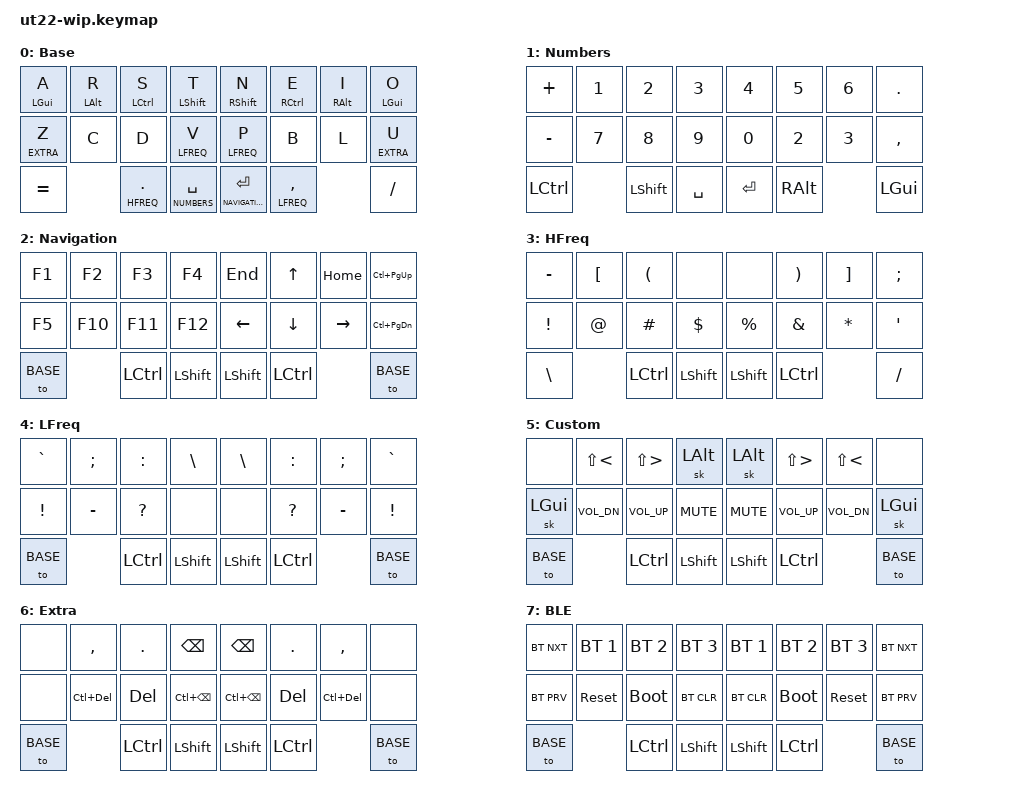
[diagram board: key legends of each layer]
/*
 * SPDX-License-Identifier: MIT
 */

#include <behaviors.dtsi>
#include <dt-bindings/zmk/keys.h>
#include <dt-bindings/zmk/bt.h>
#include <dt-bindings/zmk/outputs.h>


// LAYERS
// ====================================================
#define BASE    	0
#define NUMBERS 	1
#define NAVIGATION 	2
#define HFREQ 		3
#define LFREQ 		4
#define CUSTOM 		5
#define EXTRA		6
#define BLE		7


// Using layer taps on thumbs, having quick tap as well helps w/ repeating space/backspace
&lt { quick_tap_ms = <200>; };
// Sticky Layer Behavior - release sticky behavior after x ms
&sk { release-after-ms = <1800>; };
&mt { tapping-term-ms = <200>; };

// TAIPO DEFINITIONS (use in conjunction with TAIPO COMBOS)
// ====================================================
// ZMK forces you to define combos in terms of HW key positions
/*
	.-----------------------------------------------------------.
	|  0  |  1  |  2  |  3  |           |  4  |  5  |  6  |  7  |
	|  8  |  9  |  10 |  11 |           |  12 |  13 |  14 |  15 |
	|  16 |-----|  17 |  18 |           |  19 |  20 |-----|  21 |
	'-----'     '-----------------------------------'     '-----'
*/
// {Top,Bottom}{Left,Right}{Index,Middle,Ring,Pinky}

// LEFT SIDE
// Top
#define LTI 3  // Index
#define LTM 2  // Middle
#define LTR 1  // Ring
#define LTP 0  // Pinky
// Bottom
#define LBI 11 // Index
#define LBM 10 // Middle
#define LBR 9  // Ring
#define LBP 8  // Pinky

// RIGHT SIDE
// Top
#define RTI 4  // Index
#define RTM 5  // Middle
#define RTR 6  // Ring
#define RTP 7  // Pinky
// Bottom
#define RBI 12 // Index
#define RBM 13 // Middle
#define RBR 14 // Ring
#define RBP 15 // Pinky

// BEHAVIOR
// ====================================================

/{
	behaviors {
		// Enables holding the first mod-tap key
		// by performing a tap-release-hold sequence.
		// To use it: "&qt KEYCODE1 KEYCODE2"
		qt: quick_tap {
			compatible = "zmk,behavior-hold-tap";
			label = "QUICK_TAP";
			#binding-cells = <2>;
			flavor = "hold-preferred";
			tapping-term-ms = <200>;
			quick-tap-ms = <200>;
			bindings = <&kp>, <&kp>;
		};
	};


// COMBOS
// ====================================================
/*
	.-----------------------------------------------------------.
	|  0  |  1  |  2  |  3  |           |  4  |  5  |  6  |  7  |
	|  8  |  9  |  10 |  11 |           |  12 |  13 |  14 |  15 |
	|  16 |-----|  17 |  18 |           |  19 |  20 |-----|  21 |
	'-----'     '-----------------------------------'     '-----'
*/
// ARTSEY COMBOS
// name of the combo, output of the combo, input for the combo, applied on which layers
	#define COMBO(NAME, BINDINGS, KEYPOS, LAYER) \
	combo_##NAME { \
		timeout-ms = <120>; \
		bindings = <BINDINGS>; \
		key-positions = <KEYPOS>; \
		layers = <LAYER>; \
	};

   combos {
        compatible = "zmk,combos";
		// LEFT SIDE
		/***************
		* 2 key combos
		****************/
		COMBO(L1,&kp ENTER,LTI LBI,0 1 2 3 4 5 6)		// ENTER
		COMBO(L2,&sk LCTRL,LBI LTP, 0 1 2 3 4 5 6)		// LCTRL *oneshot
		COMBO(L3,&sk LGUI,LBM LTP, 0 1 2 3 4 5 6)		// LGUI  *oneshot
		COMBO(L4,&sk RALT,LBR LTP, 0 1 2 3 4 5 6)		// RALT  *oneshot
		COMBO(L5,&kp BACKSPACE,LBI LTM, 0 1 2 3 4 5 6)		// BACKSPACE
		COMBO(L6,&kp DELETE,LBR LTM, 0 1 2 3 4 5 6)		// DELETE
		COMBO(L7,&kt LSHFT,LBM LTM, 0 1 2 3 4 5 6)		// LSHIFT #toggle

		COMBO(L8,&kp Q,LBM LBR, 0)				//Q
		COMBO(L9,&kp G,LTM LTI, 0)				//G
		COMBO(L10,&kp Z,LBP LBR, 0)				//X

		/***************
		* 3 key combos
		****************/
		COMBO(L12,&kp X,LBR LBM LBI, 0)				//W
		

		/***************
		* 4 key combos
		****************/

		COMBO(L39,&kp TAB,LTP LTR LTM LTI,0 1 2 3 4 5 6)		// TAB
		COMBO(L41,&tog BLE,LTP LBP LTI LBI,0 1 2 3 4 5 6)		// LAYER: BLUETOOTH #toggle

		// RIGHT SIDE
		/***************
		* 2 key combos
		****************/
		COMBO(R1,&kp BACKSPACE, RTR RTP, 0 1 2 3 4 5 6)		//BACKSPACE
		COMBO(R2,&kp M, RTI RTM, 0)				//M
		COMBO(R3,&kp F, RBI RBM, 0)				//F
		COMBO(R3,&kp F, RBM RBR, 0)				//K
		COMBO(R3,&kp F, RBR RBI, 0)				//H
		COMBO(R3,&kp F, RTM RTR, 0)				//Y

		/***************
		* 3 key combos
		****************/
		COMBO(R5,&kp K, RBI RBM RBR, 0)				//J
		COMBO(R6,&kp ESC,RBI RTR RTP, 0 1 2 3 4 5 6)		//ESC
		/***************
		* 4 key combos
		****************/

   };

// KEYMAP
// ====================================================

/*  0 = Base
	.-----------------------------------------------------------.
	|  A  |  R  |  S  |  T  |           |  N  |  E  |  I  |  O  |
	|  Z  |  C  |  D  |  V  |           |  P  |  B  |  L  |  U  |
	|  =  |-----|HFREQ|SPACE|           |ENTER|LFREQ|-----|  /  |
	'-----'     '-----------------------------------'     '-----'
*/
	keymap {
		compatible = "zmk,keymap";

		// LAYER: BASE 0
		default_layer {
			label = "Base";
			bindings = <
			&mt LGUI A	&mt LALT R	&mt LCTRL S	&mt LSHIFT T	&mt RSHIFT N	&mt RCTRL E	&mt RALT I	&mt LGUI O
			&lt EXTRA Z	&kp C       	&kp D		&lt LFREQ V     &lt LFREQ P 	&kp B  		&kp L       	&lt EXTRA U
			&kp EQUAL             &lt HFREQ PERIOD   &lt NUMBERS SPACE      &lt NAVIGATION ENTER  &lt LFREQ COMMA		&kp FSLH
			>;
		};

// -----------------------------------------------------------------------------

/*  1 = Numbers
	.-----------------------------------------------------------.
	|  +  |  1  |  2  |  3  |           |  4  |  5  |  6  |  .  |
	|  -  |  7  |  8  |  9  |           |  0  |     |     |  ,  |
	|LCTRL|-----|LSHFT|SPACE|           |ENTER|LALT |-----| LGUI|
	'-----'     '-----------------------------------'     '-----'
*/
        // LAYER: NUMBERS 1
		numbers_layer {
			label = "Numbers";
			bindings = <
			&kp PLUS    &kp N1      &kp N2      &kp N3         &kp N4      &kp N5      &kp N6      &kp PERIOD
			&kp MINUS   &kp N7      &kp N8      &kp N9         &kp N0     &kp N2      &kp N3      &kp COMMA
			&kp LCTRL               &kp LSHIFT  &kp SPACE      &kp ENTER   &kp RALT                &kp LGUI     
			>;
		};
// -----------------------------------------------------------------------------

/*  2 = Navigation
	.-----------------------------------------------------------.
	|  F1 |  F2 |  F3 |  F4 |           |  4  |  5  |  6  |  7  |
	|  F5 |  F10|  F11|  F12|           |  12 |  13 |  14 |  15 |
	|  16 |-----|  17 |  18 |           |  19 |  20 |-----|  21 |
	'-----'     '-----------------------------------'     '-----'
*/
        // LAYER: NAVIGATION 2
		navigation_layer {
			label = "Navigation";
			bindings = <
			&kp F1     &kp F2       &kp F3      &kp F4         &kp END        &kp UP      &kp HOME    &kp LC(PG_UP)
			&kp F5     &kp F10      &kp F11     &kp F12        &kp LEFT       &kp DOWN    &kp RIGHT   &kp LC(PG_DN)
			&to BASE                &kp LCTRL   &kp LSHIFT     &kp LSHIFT     &kp LCTRL               &to BASE     
			>;
		};
// -----------------------------------------------------------------------------

/*  3 = High Frequency
	.-----------------------------------------------------------.
	|  -  | {[  |  (  |     |           |     |  )  |  ]} |  ;  |
	|  !  |  @  |  #  |  $  |           |  %  |  &  |  *  |  '  |
	|  \  |-----|  17 |  18 |           |  19 |  20 |-----|  /  |
	'-----'     '-----------------------------------'     '-----'
*/
        // LAYER: HFREQ 3
		hfreq_layer {
			label = "HFreq";
			bindings = <
			&kp MINUS   &kp LBKT  &kp LPAR    &none        &none       &kp RPAR    &kp RBKT   &kp SEMI 
			&kp EXCL    &kp AT    &kp HASH    &kp DLLR     &kp PRCNT   &kp AMPS    &kp ASTRK  &kp APOS
			&kp BSLH              &kp LCTRL   &kp LSHIFT   &kp LSHIFT  &kp LCTRL              &kp FSLH     
			>;
		};
// -----------------------------------------------------------------------------

/*  4 = Low Frequency
	.-----------------------------------------------------------.
	|  0  |  1  |  2  |  3  |           |  4  |  5  |  6  |  7  |
	|  8  |  9  |  10 |  11 |           |  12 |  13 |  14 |  15 |
	|  16 |-----|  17 |  18 |           |  19 |  20 |-----|  21 |
	'-----'     '-----------------------------------'     '-----'
*/
        // LAYER: LFREQ 4
		lfreq_layer {
			label = "LFreq";
			bindings = <
			&kp GRAVE   &kp SEMI    &kp COLON   &kp BSLH    &kp BSLH    &kp COLON   &kp SEMI   &kp GRAVE 
			&kp EXCL    &kp MINUS   &kp QMARK   &none       &none       &kp QMARK   &kp MINUS  &kp EXCL
			&to BASE              &kp LCTRL   &kp LSHIFT    &kp LSHIFT  &kp LCTRL              &to BASE     
			>;
		};
// -----------------------------------------------------------------------------

/*  5 = Media
	.-----------------------------------------------------------.
	|  0  |  1  |  2  |  3  |           |  4  |  5  |  6  |  7  |
	|  8  |  9  |  10 |  11 |           |  12 |  13 |  14 |  15 |
	|  16 |-----|  17 |  18 |           |  19 |  20 |-----|  21 |
	'-----'     '-----------------------------------'     '-----'
*/
        // LAYER: CUSTOM 5
		custom_layer {
			label = "Custom";
			bindings = <
			&none  		&kp LS(LT)    	&kp LS(GT)     	&sk LALT        &sk LALT    &kp LS(GT)   &kp LS(LT)     &none
			&sk LGUI	&kp C_VOL_DN    &kp C_VOL_UP    &kp C_MUTE      &kp C_MUTE  &kp C_VOL_UP &kp C_VOL_DN   &sk LGUI
			&to BASE                    &kp LCTRL       &kp LSHIFT      &kp LSHIFT  &kp LCTRL                   &to BASE     
			>;
		};
// -----------------------------------------------------------------------------

/*  6 = Extras
	.-----------------------------------------------------------.
	|  0  |  1  |  2  |  3  |           |  4  |  5  |  6  |  7  |
	|  8  |  9  |  10 |  11 |           |  12 |  13 |  14 |  15 |
	|  16 |-----|  17 |  18 |           |  19 |  20 |-----|  21 |
	'-----'     '-----------------------------------'     '-----'
*/
        // LAYER: EXTRA 6
		extra_layer {
			label = "Extra";
			bindings = <
			&none		&kp COMMA  	    &kp PERIOD	&kp BACKSPACE           &kp BACKSPACE       &kp PERIOD    &kp COMMA     &none
			&none 		&kp LC(DEL) 	&kp DEL 	&kp LC(BACKSPACE)       &kp LC(BACKSPACE)   &kp DEL       &kp LC(DEL)   &none
			&to BASE                    &kp LCTRL   &kp LSHIFT              &kp LSHIFT  &kp LCTRL                           &to BASE     
			>;
		};
// -----------------------------------------------------------------------------

/*  7 = Bluetooth
	.-----------------------------------------------------------.
	|  0  |  1  |  2  |  3  |           |  4  |  5  |  6  |  7  |
	|  8  |  9  |  10 |  11 |           |  12 |  13 |  14 |  15 |
	|  16 |-----|  17 |  18 |           |  19 |  20 |-----|  21 |
	'-----'     '-----------------------------------'     '-----'
*/
        // LAYER: BLUETOOTH 7
		ble_layer {
			label = "BLE";
			bindings = <
			&bt BT_NXT       &bt BT_SEL 1   &bt BT_SEL 2     &bt BT_SEL 3     &bt BT_SEL 1     &bt BT_SEL 2    &bt BT_SEL 3    &bt BT_NXT
			&bt BT_PRV       &sys_reset    	&bootloader	 &bt BT_CLR           &bt BT_CLR       &bootloader     &sys_reset      &bt BT_PRV 
			&to BASE                        &kp LCTRL   &kp LSHIFT            &kp LSHIFT       &kp LCTRL                       &to BASE     
			>;
		};
// -----------------------------------------------------------------------------

// -----------------------------------------------------------------------------
    };
};
